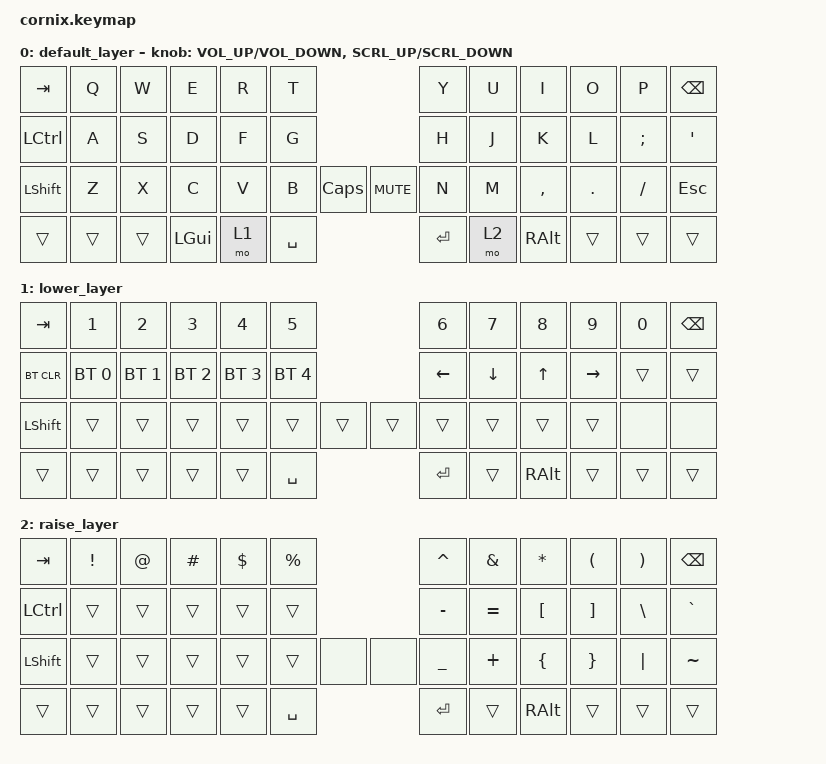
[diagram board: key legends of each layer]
/*
 * Copyright (c) 2024 The ZMK Contributors
 *
 * SPDX-License-Identifier: MIT
 */

#include <behaviors.dtsi>
#include <dt-bindings/zmk/bt.h>
#include <dt-bindings/zmk/keys.h>

/ {
    behaviors {
        inc_dec_msc: inc_dec_msc {
            compatible = "zmk,behavior-sensor-rotate-mouse-scroll";
            #sensor-binding-cells = <2>;
            bindings = <&msc>, <&msc>;
        };
    };

    keymap {
        compatible = "zmk,keymap";

        default_layer {
            // -----------------------------------------------------------------------------------------
            // |  TAB |  Q  |  W  |  E  |  R  |  T  |      |   |      |  Y  |  U  |  I  |  O  |  P  | BKSP |
            // | CTRL |  A  |  S  |  D  |  F  |  G  |      |   |      |  H  |  J  |  K  |  L  |  ;  |  '   |
            // | SHFT |  Z  |  X  |  C  |  V  |  B  |      |   |      |  N  |  M  |  ,  |  .  |  /  | ESC  |
            //                    | GUI | LWR | SPC | SPC2 |   | ENT2 | ENT | RSE | ALT |

            bindings = <
&kp TAB    &kp Q   &kp W   &kp E     &kp R  &kp T                                &kp Y    &kp U  &kp I      &kp O    &kp P     &kp BSPC
&kp LCTRL  &kp A   &kp S   &kp D     &kp F  &kp G                                &kp H    &kp J  &kp K      &kp L    &kp SEMI  &kp SQT
&kp LSHFT  &kp Z   &kp X   &kp C     &kp V  &kp B      &kp CAPSLOCK  &kp K_MUTE  &kp N    &kp M  &kp COMMA  &kp DOT  &kp FSLH  &kp ESC
&trans     &trans  &trans  &kp LGUI  &mo 1  &kp SPACE                            &kp RET  &mo 2  &kp RALT   &trans   &trans    &trans
            >;

            sensor-bindings =
                <&inc_dec_kp C_VOLUME_UP C_VOLUME_DOWN>,
                <&inc_dec_msc SCRL_UP SCRL_DOWN>;
        };

        lower_layer {
            // -----------------------------------------------------------------------------------------
            // |  TAB |  1  |  2  |  3  |  4  |  5  |      |   |      |  6  |  7  |  8  |  9  |  0  | BKSP |
            // | BTCLR| BT1 | BT2 | BT3 | BT4 | BT5 |      |   |      | LFT | DWN |  UP | RGT |     |      |
            // | SHFT |     |     |     |     |     |      |   |      |     |     |     |     |     |      |
            //                    | GUI |     | SPC | SPC2 |   | ENT2 | ENT |     | ALT |

            bindings = <
&kp TAB     &kp N1        &kp N2        &kp N3        &kp N4        &kp N5                        &kp N6    &kp N7    &kp N8    &kp N9     &kp N0  &kp BSPC
&bt BT_CLR  &bt BT_SEL 0  &bt BT_SEL 1  &bt BT_SEL 2  &bt BT_SEL 3  &bt BT_SEL 4                  &kp LEFT  &kp DOWN  &kp UP    &kp RIGHT  &trans  &trans
&kp LSHFT   &trans        &trans        &trans        &trans        &trans        &trans  &trans  &trans    &trans    &trans    &trans     &none   &none
&trans      &trans        &trans        &trans        &trans        &kp SPACE                     &kp RET   &trans    &kp RALT  &trans     &trans  &trans
            >;
        };

        raise_layer {
            // -----------------------------------------------------------------------------------------
            // |  TAB |  !  |  @  |  #  |  $  |  %  |      |   |      |  ^  |  &  |  *  |  (  |  )  | BKSP |
            // | CTRL |     |     |     |     |     |      |   |      |  -  |  =  |  [  |  ]  |  \  |  `   |
            // | SHFT |     |     |     |     |     |      |   |      |  _  |  +  |  {  |  }  |  |  |  ~   |
            //                    | GUI |     | SPC | SPC2 |   | ENT2 | ENT |     | ALT |

            bindings = <
&kp TAB    &kp EXCL  &kp AT  &kp HASH  &kp DLLR  &kp PRCNT                &kp CARET  &kp AMPS   &kp ASTERISK  &kp LPAR  &kp RPAR  &kp BSPC
&kp LCTRL  &trans    &trans  &trans    &trans    &trans                   &kp MINUS  &kp EQUAL  &kp LBKT      &kp RBKT  &kp BSLH  &kp GRAVE
&kp LSHFT  &trans    &trans  &trans    &trans    &trans     &none  &none  &kp UNDER  &kp PLUS   &kp LBRC      &kp RBRC  &kp PIPE  &kp TILDE
&trans     &trans    &trans  &trans    &trans    &kp SPACE                &kp RET    &trans     &kp RALT      &trans    &trans    &trans
            >;
        };
    };
};
